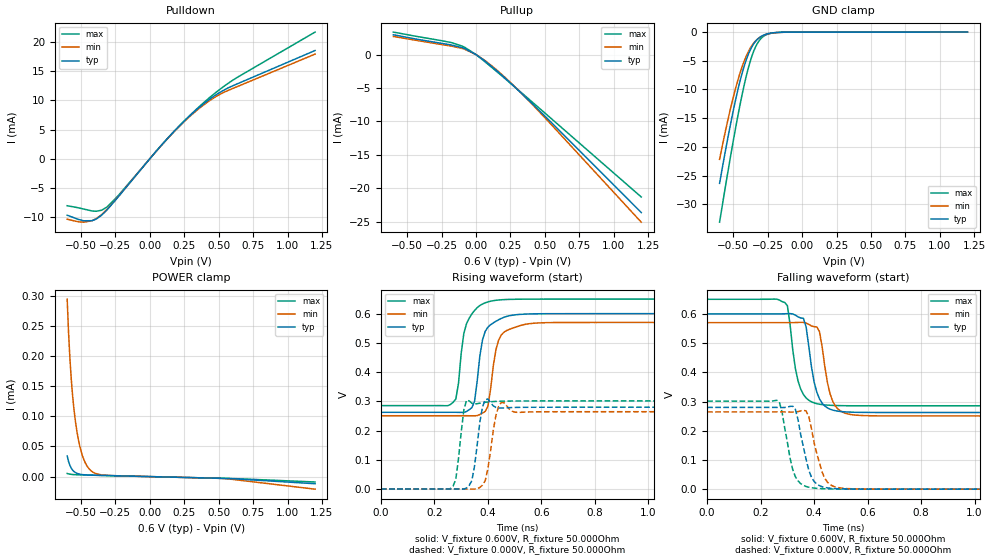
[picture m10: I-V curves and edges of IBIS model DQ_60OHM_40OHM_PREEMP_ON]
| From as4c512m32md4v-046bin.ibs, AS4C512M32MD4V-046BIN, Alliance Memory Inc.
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|   MODEL: DQ_60OHM_40OHM_PREEMP_ON
[Model]   DQ_60OHM_40OHM_PREEMP_ON
Model_type   I/O
Polarity   Non-Inverting
Enable   Active-High
Vinl   = 0.080V
Vinh   = 0.220V
Vmeas   = 0.150V
Vref   = 0.150V
Cref   = 0.000pF
Rref   = 50.000Ohm
|   typ   min   max
C_comp   0.875pF   0.788pF   0.963pF
[Voltage Range]   0.600V   0.570V   0.650V
[Temperature Range]   25.0   95.0   -40.0
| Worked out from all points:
|   slope of the pulldown table from 0 to 0.09 V, typ, clamps not added: 36.2 ohm
|   slope of the pullup table from 0 to 0.09 V, typ, clamps not added: 65.2 ohm
|   GND clamp passes 1 mA (typ) near -0.31 V on its own axis
|   rising waveform, V_fixture 0.600V, R_fixture 50.000Ohm: 20-80 % time 33.2ps typ, 33.7ps min, 36.7ps max; typ from 0.262 V to 0.6 V
|   falling waveform, V_fixture 0.600V, R_fixture 50.000Ohm: 20-80 % time 37.4ps typ, 37.9ps min, 36.2ps max; typ from 0.6 V to 0.262 V
|   rising waveform, V_fixture 0.000V, R_fixture 50.000Ohm: 20-80 % time 23.8ps typ, 26.3ps min, 22.4ps max; typ from 0 V to 0.28 V
|   falling waveform, V_fixture 0.000V, R_fixture 50.000Ohm: 20-80 % time 41.2ps typ, 43.5ps min, 38.5ps max; typ from 0.28 V to 0 V
[Pulldown]
|   Voltage   I(typ)   I(min)   I(max)
-600mV    -9.677mA   -10.37mA   -8.055mA
-480mV    -10.64mA   -10.88mA   -8.627mA
-420mV    -10.62mA   -10.63mA   -8.948mA
-350mV    -9.692mA   -9.595mA   -8.829mA
-310mV    -8.758mA   -8.678mA   -8.266mA
-230mV    -6.56mA    -6.516mA   -6.345mA
130mV     3.534mA    3.49mA     3.493mA
270mV     6.924mA    6.817mA    6.938mA
400mV     9.592mA    9.392mA    9.8mA
490mV     11.1mA     10.8mA     11.56mA
580mV     12.28mA    11.83mA    13.12mA
1.2V      18.56mA    17.95mA    21.73mA
[Pullup]
|   Voltage   I(typ)   I(min)   I(max)
-600mV    2.969mA    2.718mA    3.369mA
-180mV    1.446mA    1.278mA    1.805mA
-100mV    1.041mA    915.1uA    1.27mA
0V        0A         0A         0A
70mV      -1.054mA   -969.1uA   -1.157mA
210mV     -3.5mA     -3.4mA     -3.575mA
400mV     -7.175mA   -7.266mA   -6.946mA
1.2V      -23.62mA   -25.07mA   -21.3mA
[GND Clamp]
|   Voltage   I(typ)   I(min)   I(max)
-600mV    -26.36mA   -22.19mA   -33.14mA
-550mV    -19.73mA   -16.43mA   -25.84mA
-510mV    -14.79mA   -12.27mA   -20.24mA
-470mV    -10.36mA   -8.615mA   -14.96mA
-430mV    -6.627mA   -5.609mA   -10.17mA
-390mV    -3.805mA   -3.349mA   -6.151mA
-360mV    -2.341mA   -2.151mA   -3.819mA
-320mV    -1.14mA    -1.122mA   -1.755mA
-280mV    -524.1uA   -555.5uA   -715.7uA
-230mV    -184.4uA   -215.6uA   -213.3uA
-140mV    -20.29uA   -29.99uA   -17.96uA
1.2V      6.836uA    7.386uA    6.714uA
[POWER Clamp]
|   Voltage   I(typ)   I(min)   I(max)
-600mV    34.27uA    294.1uA    5.169uA
-590mV    25uA       238.9uA    4.47uA
-570mV    13.84uA    160.6uA    3.674uA
-560mV    10.58uA    132.6uA    3.444uA
-540mV    6.655uA    91.24uA    3.146uA
-520mV    4.678uA    62.84uA    2.957uA
-490mV    3.339uA    35.2uA     2.748uA
-460mV    2.772uA    19.1uA     2.569uA
-420mV    2.39uA     8.47uA     2.342uA
-300mV    1.671uA    1.938uA    1.671uA
560mV     -3.13uA    -3.595uA   -3.086uA
1.2V      -11.8uA    -20.82uA   -8.926uA
[Ramp]
R_load = 50.000Ohm
|   typ   min   max
dV/dt_r   0.203V/30.000ps   0.192V/30.000ps   0.219V/40.000ps
dV/dt_f   0.202V/40.000ps   0.192V/40.000ps   0.219V/40.000ps
|Slew_r   6.752V/ns   6.387V/ns   5.470V/ns
|Slew_f   5.062V/ns   4.789V/ns   5.468V/ns
[Rising Waveform]
V_fixture = 0.600V
V_fixture_min = 0.570V
V_fixture_max = 0.650V
R_fixture = 50.000Ohm
L_fixture = 0.000nH
C_fixture = 0.000pF
|dV/dt_r   0.203V/30.000ps   0.192V/30.000ps   0.219V/40.000ps
|Slew_r   6.752V/ns   6.387V/ns   5.470V/ns
|   Time   V(typ)   V(min)   V(max)
0s        262.4mV    250.6mV    285.3mV
270ps     262.5mV    250.6mV    296.6mV
290ps     262.2mV    250.7mV    362mV
310ps     262.2mV    250.8mV    532.9mV
340ps     278.4mV    250.4mV    599.1mV
390ps     539.8mV    265.6mV    637.1mV
430ps     574mV      476.7mV    645.8mV
450ps     583.8mV    527.3mV    647.6mV
650ps     599.9mV    569.7mV    649.9mV
5ns       600mV      570mV      650mV
[Falling Waveform]
V_fixture = 0.600V
V_fixture_min = 0.570V
V_fixture_max = 0.650V
R_fixture = 50.000Ohm
L_fixture = 0.000nH
C_fixture = 0.000pF
|dV/dt_f   0.202V/40.000ps   0.192V/40.000ps   0.219V/40.000ps
|Slew_f   5.062V/ns   4.789V/ns   5.468V/ns
|   Time   V(typ)   V(min)   V(max)
0s        599.9mV    569.9mV    649.9mV
290ps     600.4mV    570mV      639.1mV
300ps     600.8mV    570mV      628mV
330ps     595.7mV    570.4mV    412.5mV
360ps     584.7mV    570.8mV    324mV
420ps     309.1mV    539.4mV    290.7mV
450ps     278.1mV    363.9mV    287.7mV
490ps     266.9mV    273.7mV    286.1mV
590ps     262.7mV    251.8mV    285.4mV
5ns       262.4mV    250.7mV    285.4mV
[Rising Waveform]
V_fixture = 0.000V
V_fixture_min = 0.000V
V_fixture_max = 0.000V
R_fixture = 50.000Ohm
L_fixture = 0.000nH
C_fixture = 0.000pF
|dV/dt_r   0.168V/20.000ps   0.159V/30.000ps   0.181V/20.000ps
|Slew_r   8.396V/ns   5.288V/ns   9.041V/ns
|   Time   V(typ)   V(min)   V(max)
0s        3.954uV    11.76uV    1.679uV
270ps     85.42uV    13.55uV    10.13mV
280ps     -20.54uV   17.91uV    33.93mV
320ps     3.367mV    -38.37uV   303.5mV
340ps     28.86mV    -521.6uV   293.3mV
380ps     281.6mV    13.3mV     295.3mV
400ps     307.8mV    69.78mV    297.7mV
430ps     279.1mV    252.3mV    299.7mV
450ps     277mV      295.7mV    300.4mV
5ns       279.9mV    264.4mV    301.4mV
[Falling Waveform]
V_fixture = 0.000V
V_fixture_min = 0.000V
V_fixture_max = 0.000V
R_fixture = 50.000Ohm
L_fixture = 0.000nH
C_fixture = 0.000pF
|dV/dt_f   0.168V/40.000ps   0.159V/50.000ps   0.181V/40.000ps
|Slew_f   4.197V/ns   3.172V/ns   4.520V/ns
|   Time   V(typ)   V(min)   V(max)
0s        279.8mV    264.4mV    301.3mV
270ps     279.6mV    264.5mV    297.9mV
320ps     284mV      263.8mV    66.85mV
340ps     237.3mV    265.6mV    28.11mV
370ps     102.2mV    267.6mV    9.126mV
390ps     40.98mV    207.5mV    4.871mV
420ps     11.98mV    89.89mV    2.107mV
460ps     3.231mV    15.58mV    812.6uV
560ps     285.8uV    822.3uV    58.21uV
5ns       4.334uV    12.08uV    2.112uV
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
